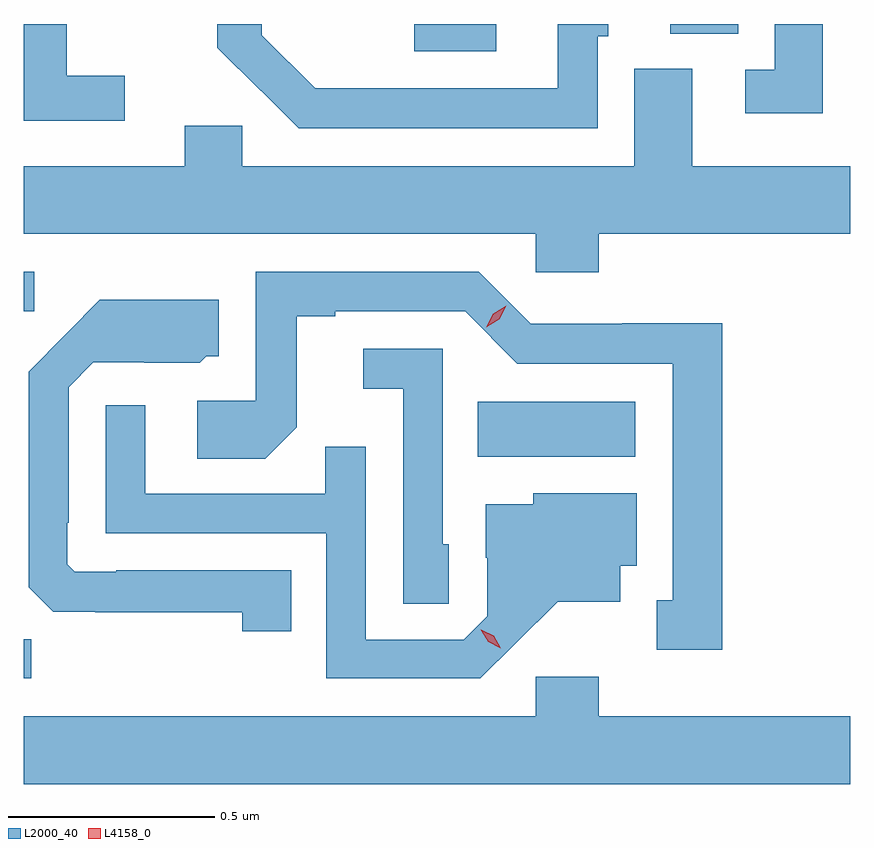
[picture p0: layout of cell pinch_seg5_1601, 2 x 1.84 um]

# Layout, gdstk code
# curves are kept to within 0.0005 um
import gdstk
lib = gdstk.Library(unit=1e-6, precision=1e-09)
def R(c, l, rs):  # rectangles x0, y0, x1, y1
    for r in rs: c.add(gdstk.rectangle(r[:2], r[2:], *l))
def P(c, l, *ps):  # polygons
    for p in ps: c.add(gdstk.Polygon(p, *l))
L2000_40 = (2000, 40)
L4158_0 = (4158, 0)

pinch_seg5_1601 = lib.new_cell('pinch_seg5_1601')
R(pinch_seg5_1601, L2000_40, [(315.201,871.668,315.219,871.763), (316.3,872.204,316.681,872.338), (315.201,872.556,315.226,872.652), (316.146,873.186,316.345,873.252), (316.766,873.229,316.93,873.252)])
P(pinch_seg5_1601, L2000_40, [(315.445,873.127),(315.305,873.127),(315.305,873.252),(315.201,873.252),(315.201,873.018),(315.445,873.018)],
  [(316.59,873.222),(316.615,873.222),(316.615,873.252),(316.493,873.252),(316.493,873.096),(316.009,873.096),(316.009,873.097),(315.906,873.097),(315.777,873.225),(315.777,873.252),(315.669,873.252),(315.669,873.195),(315.774,873.09),(315.775,873.091),(315.866,873),(316.59,873)],
  [(317.135,873.252),(317.019,873.252),(317.019,873.141),(316.947,873.141),(316.947,873.036),(317.135,873.036)],
  [(316.592,872.744),(317.201,872.744),(317.201,872.908),(316.819,872.908),(316.819,873.144),(316.679,873.144),(316.679,872.908),(315.729,872.908),(315.729,873.006),(315.59,873.006),(315.59,872.908),(315.201,872.908),(315.201,872.744),(316.44,872.744),(316.44,872.651),(316.592,872.651)],
  [(316.891,872.528),(316.65,872.528),(316.65,872.526),(316.428,872.526),(316.302,872.652),(315.762,872.652),(315.762,872.34),(315.621,872.34),(315.621,872.2),(315.785,872.2),(315.861,872.276),(315.861,872.544),(315.955,872.544),(315.955,872.556),(316.269,872.556),(316.395,872.43),(316.772,872.43),(316.772,871.857),(316.733,871.857),(316.733,871.737),(316.891,871.737)],
  [(315.848,871.929),(315.424,871.929),(315.424,871.926),(315.324,871.926),(315.306,871.944),(315.306,872.044),(315.309,872.044),(315.309,872.373),(315.369,872.433),(315.492,872.433),(315.492,872.432),(315.626,872.432),(315.642,872.448),(315.673,872.448),(315.673,872.584),(315.385,872.584),(315.213,872.41),(315.213,871.888),(315.272,871.829),(315.373,871.829),(315.373,871.828),(315.73,871.828),(315.73,871.782),(315.848,871.782)],
  [(316.23,871.992),(316.215,871.992),(316.215,872.466),(316.023,872.466),(316.023,872.369),(316.119,872.369),(316.119,871.849),(316.23,871.849)],
  [(316.39,871.751),(316.493,871.853),(316.645,871.853),(316.645,871.94),(316.684,871.94),(316.684,872.116),(316.434,872.116),(316.434,872.089),(316.319,872.089),(316.319,871.96),(316.323,871.96),(316.323,871.818),(316.266,871.761),(316.029,871.761),(316.029,872.228),(315.931,872.228),(315.931,872.115),(315.495,872.115),(315.495,872.329),(315.399,872.329),(315.399,872.019),(315.933,872.019),(315.933,871.668),(316.306,871.668)],
  [(317.201,871.576),(316.592,871.576),(316.592,871.672),(316.44,871.672),(316.44,871.576),(315.201,871.576),(315.201,871.412),(317.201,871.412)])
P(pinch_seg5_1601, L4158_0, [(316.355,871.741),(316.325,871.756),(316.307,871.785),(316.307,871.786),(316.308,871.786),(316.338,871.771),(316.355,871.741),(316.355,871.741)],
  [(316.32,872.518),(316.32,872.518),(316.337,872.551),(316.369,872.57),(316.369,872.57),(316.369,872.57),(316.352,872.537),(316.32,872.518)])

lib.write_gds('pinch_seg5_1601.gds')
